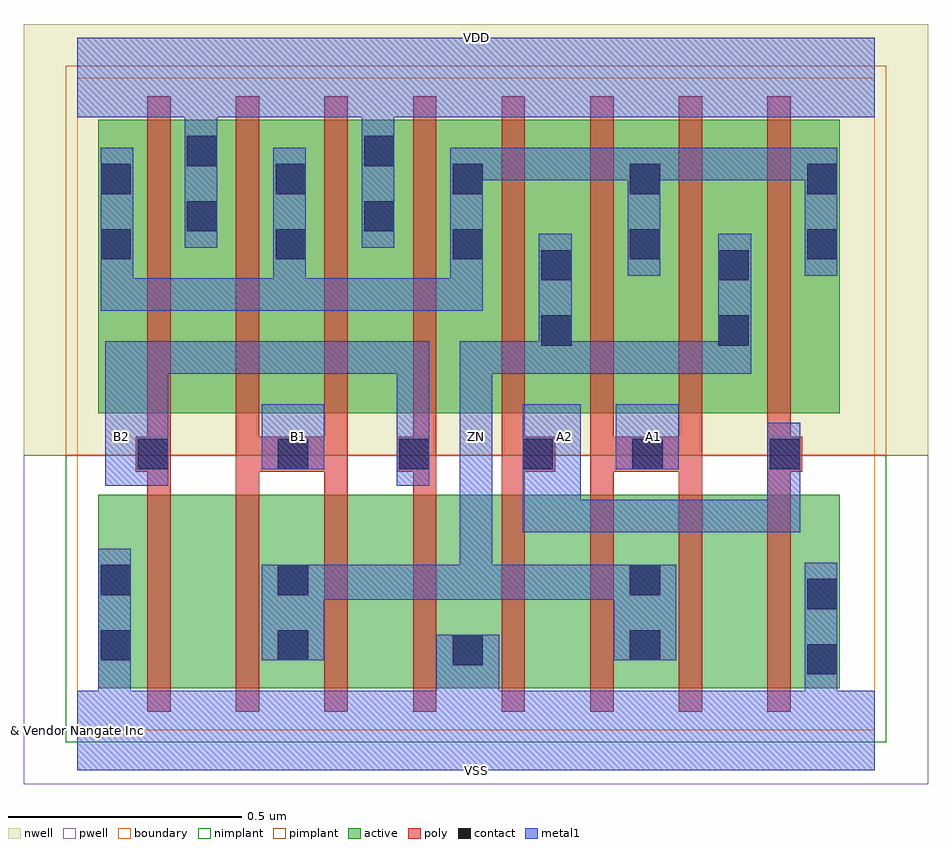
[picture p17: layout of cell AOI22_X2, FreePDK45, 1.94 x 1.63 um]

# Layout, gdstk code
import gdstk
lib = gdstk.Library(unit=1e-6, precision=1e-10)
def R(c, l, rs):  # rectangles x0, y0, x1, y1
    for r in rs: c.add(gdstk.rectangle(r[:2], r[2:], *l))
def A(c, l, x, y, w, h, nx, ny, dx, dy):  # array of equal rectangles
    R(c, l, [(x+i*dx, y+j*dy, x+i*dx+w, y+j*dy+h) for i in range(nx) for j in range(ny)])
def P(c, l, *ps):  # polygons
    for p in ps: c.add(gdstk.Polygon(p, *l))
active = (1, 0)
pwell = (2, 0)
nwell = (3, 0)
nimplant = (4, 0)
pimplant = (5, 0)
poly = (9, 0)
contact = (10, 0)
metal1 = (11, 0)
boundary = (235, 0)

aoi22_x2 = lib.new_cell('AOI22_X2')
R(aoi22_x2, active, [(0.045,0.09,1.635,0.505), (0.045,0.68,1.635,1.31)])
R(aoi22_x2, pwell, [(-0.115,-0.115,1.825,0.59)])
R(aoi22_x2, nwell, [(-0.115,0.59,1.825,1.515)])
R(aoi22_x2, nimplant, [(-0.025,-0.025,1.735,0.59)])
R(aoi22_x2, pimplant, [(-0.025,0.59,1.735,1.425)])
P(aoi22_x2, poly, [(0.15,0.04),(0.15,0.555),(0.125,0.555),(0.125,0.63),(0.15,0.63),(0.15,1.36),(0.2,1.36),(0.2,0.04)],
  [(0.34,0.04),(0.34,1.36),(0.39,1.36),(0.39,0.63),(0.53,0.63),(0.53,1.36),(0.58,1.36),(0.58,0.04),(0.53,0.04),(0.53,0.555),(0.39,0.555),(0.39,0.04)],
  [(0.72,0.04),(0.72,0.555),(0.685,0.555),(0.685,0.63),(0.72,0.63),(0.72,1.36),(0.77,1.36),(0.77,0.04)],
  [(0.91,0.04),(0.91,1.36),(0.96,1.36),(0.96,0.63),(1.025,0.63),(1.025,0.555),(0.96,0.555),(0.96,0.04)],
  [(1.1,0.04),(1.1,1.36),(1.15,1.36),(1.15,0.63),(1.29,0.63),(1.29,1.36),(1.34,1.36),(1.34,0.04),(1.29,0.04),(1.29,0.555),(1.15,0.555),(1.15,0.04)],
  [(1.48,0.04),(1.48,1.36),(1.53,1.36),(1.53,0.63),(1.555,0.63),(1.555,0.555),(1.53,0.555),(1.53,0.04)])
A(aoi22_x2, contact, 0.425, 1.01, 0.065, 0.065, 4, 2, 0.38, 0.14)
R(aoi22_x2, contact, [(1.565,0.12,1.63,0.185), (0.805,0.14,0.87,0.205), (0.05,0.15,0.115,0.215), (0.43,0.15,0.495,0.215), (1.185,0.15,1.25,0.215), (1.565,0.26,1.63,0.325), (0.05,0.29,0.115,0.355), (0.43,0.29,0.495,0.355), (1.185,0.29,1.25,0.355), (0.13,0.56,0.195,0.625), (0.43,0.56,0.495,0.625), (0.69,0.56,0.755,0.625), (0.955,0.56,1.02,0.625), (1.19,0.56,1.255,0.625), (1.485,0.56,1.55,0.625), (0.995,0.825,1.06,0.89), (1.375,0.825,1.44,0.89), (0.995,0.965,1.06,1.03), (1.375,0.965,1.44,1.03), (0.05,1.01,0.115,1.075), (0.235,1.07,0.3,1.135), (0.615,1.07,0.68,1.135), (0.05,1.15,0.115,1.215), (0.235,1.21,0.3,1.275), (0.615,1.21,0.68,1.275)])
R(aoi22_x2, metal1, [(0.395,0.56,0.53,0.7), (1.155,0.56,1.29,0.7)])
P(aoi22_x2, metal1, [(0.06,0.525),(0.06,0.835),(0.755,0.835),(0.755,0.525),(0.685,0.525),(0.685,0.765),(0.195,0.765),(0.195,0.525)],
  [(0.395,0.15),(0.395,0.355),(0.82,0.355),(0.82,0.835),(0.99,0.835),(0.99,1.065),(1.06,1.065),(1.06,0.835),(1.375,0.835),(1.375,1.065),(1.445,1.065),(1.445,0.765),(0.89,0.765),(0.89,0.355),(1.285,0.355),(1.285,0.15),(1.15,0.15),(1.15,0.28),(0.53,0.28),(0.53,0.15)],
  [(0.955,0.425),(0.955,0.7),(1.08,0.7),(1.08,0.495),(1.48,0.495),(1.48,0.66),(1.55,0.66),(1.55,0.425)],
  [(0.05,0.9),(0.05,1.25),(0.12,1.25),(0.12,0.97),(0.42,0.97),(0.42,1.25),(0.49,1.25),(0.49,0.97),(0.8,0.97),(0.8,1.25),(1.63,1.25),(1.63,0.975),(1.56,0.975),(1.56,1.18),(1.25,1.18),(1.25,0.975),(1.18,0.975),(1.18,1.18),(0.87,1.18),(0.87,0.9)],
  [(0,-0.085),(0,0.085),(0.045,0.085),(0.045,0.39),(0.115,0.39),(0.115,0.085),(0.77,0.085),(0.77,0.205),(0.905,0.205),(0.905,0.085),(1.56,0.085),(1.56,0.36),(1.63,0.36),(1.63,0.085),(1.71,0.085),(1.71,-0.085)],
  [(0.23,1.035),(0.23,1.315),(0,1.315),(0,1.485),(1.71,1.485),(1.71,1.315),(0.68,1.315),(0.68,1.035),(0.61,1.035),(0.61,1.315),(0.3,1.315),(0.3,1.035)])
R(aoi22_x2, boundary, [(0,0,1.71,1.4)])
aoi22_x2.add(gdstk.Label('A1', (1.235,0.63), layer=11, texttype=0))
aoi22_x2.add(gdstk.Label('A2', (1.045,0.63), layer=11, texttype=0))
aoi22_x2.add(gdstk.Label('B1', (0.475,0.63), layer=11, texttype=0))
aoi22_x2.add(gdstk.Label('B2', (0.095,0.63), layer=11, texttype=0))
aoi22_x2.add(gdstk.Label('VDD', (0.855,1.485), layer=11, texttype=0))
aoi22_x2.add(gdstk.Label('VSS', (0.855,-0.085), layer=11, texttype=0))
aoi22_x2.add(gdstk.Label('ZN', (0.855,0.63), layer=11, texttype=0))
aoi22_x2.add(gdstk.Label('& Vendor Nangate Inc', (0,0), layer=63, texttype=63))
aoi22_x2.add(gdstk.Label('& Product Open Cell Library', (0,0), layer=63, texttype=63))
aoi22_x2.add(gdstk.Label('& Version 2010_12', (0,0), layer=63, texttype=63))
aoi22_x2.add(gdstk.Label('& Instance AOI22_X2', (0,0), layer=63, texttype=63))

lib.write_gds('AOI22_X2.gds')
